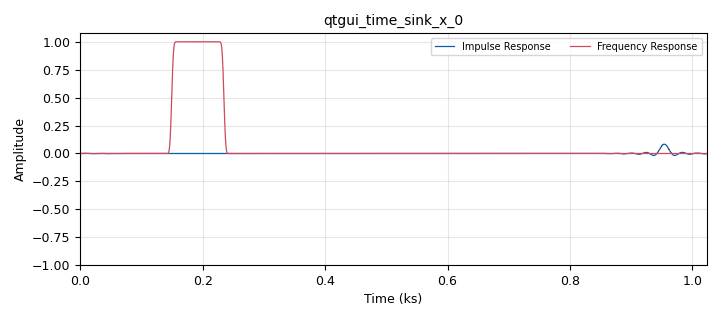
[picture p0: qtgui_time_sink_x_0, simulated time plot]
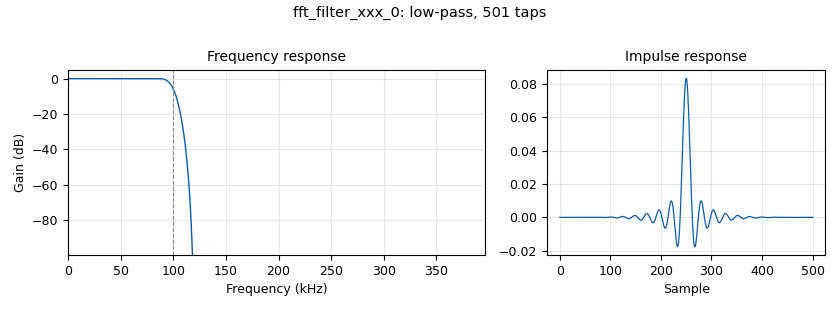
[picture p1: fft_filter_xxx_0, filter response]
options:
  parameters:
    author: Gary Schafer
    generate_options: qt_gui
    id: fftFiltering
    output_language: python
    title: FFT Filtering by Parts
  states: {}

blocks:
- name: N
  id: variable
  parameters:
    value: 2**10
  states: {}
- name: lpf
  id: variable
  parameters:
    comment: |-
      Create lowpass filter taps

      Value: firdes.low_pass(1,samp_rate,100e3,20e3,5)
    value: firdes.low_pass(1,samp_rate,100e3,20e3,5)
  states: {}
- name: lpfFft
  id: variable
  parameters:
    comment: |-
      FFT of the zeropadded
      filter taps.
    value: np.fft.fftshift(np.fft.fft(lpfZero))
  states: {}
- name: lpfLength
  id: variable
  parameters:
    comment: 'Value: len(lpf)'
    value: len(lpf)
  states: {}
- name: lpfZero
  id: variable
  parameters:
    comment: Zeropad the filter taps
    value: lpf+[0,]*523
  states: {}
- name: samp_rate
  id: variable
  parameters:
    value: 2.4e6
  states: {}
- name: blocks_delay_0_0
  id: blocks_delay
  parameters:
    delay: '250'
    type: complex
  states: {}
- name: blocks_file_source_0
  id: blocks_file_source
  parameters:
    file: /home/gary/SDR-Software/gnuradio/iq-files/FM Broadcast/FM-90M9CF-2M4FS-03.cf32
    repeat: 'True'
    type: complex
  states: {}
- name: blocks_keep_m_in_n_0
  id: blocks_keep_m_in_n
  parameters:
    comment: |-
      Extract the filtered samples,
      and discard the rest.
    m: '501'
    n: '1024'
    offset: '250'
    type: complex
  states: {}
- name: blocks_multiply_const_vxx_0
  id: blocks_multiply_const_vxx
  parameters:
    const: 1/128
    type: complex
  states: {}
- name: blocks_multiply_const_vxx_0_0
  id: blocks_multiply_const_vxx
  parameters:
    const: '8'
    type: complex
  states: {}
- name: blocks_multiply_const_vxx_1
  id: blocks_multiply_const_vxx
  parameters:
    comment: |-
      Multiply FFT of filter
      taps with the FFT of the
      signal samples. This
      effectively convolves the
      filter and signal.
    const: lpfFft
    type: complex
    vlen: '1024'
  states: {}
- name: blocks_stream_to_vector_0
  id: blocks_stream_to_vector
  parameters:
    comment: Create time record
    num_items: '1024'
    type: complex
  states: {}
- name: blocks_throttle_0
  id: blocks_throttle
  parameters:
    samples_per_second: samp_rate
    type: complex
  states: {}
- name: blocks_vector_insert_x_0
  id: blocks_vector_insert_x
  parameters:
    comment: Zeropad the signal.
    offset: '523'
    period: '1024'
    type: complex
    vector: (0,)*523
  states: {}
- name: blocks_vector_source_x_0
  id: blocks_vector_source_x
  parameters:
    repeat: 'True'
    type: float
    vector: np.abs(lpfFft)
  states: {}
- name: blocks_vector_source_x_0_0
  id: blocks_vector_source_x
  parameters:
    repeat: 'True'
    type: float
    vector: lpfZero
  states: {}
- name: blocks_vector_to_stream_0
  id: blocks_vector_to_stream
  parameters:
    num_items: '1024'
    type: complex
  states: {}
- name: fft_filter_xxx_0
  id: fft_filter_xxx
  parameters:
    comment: Gnu Radio FFT Filter
    decim: '1'
    taps: lpf
    type: ccc
  states: {}
- name: fft_vxx_0_0
  id: fft_vxx
  parameters:
    comment: FFT of signal
    fft_size: '1024'
    forward: 'True'
    shift: 'True'
    type: complex
    window: window.rectangular(1024)
  states: {}
- name: fft_vxx_0_0_0
  id: fft_vxx
  parameters:
    comment: Convert back to time domain
    fft_size: '1024'
    forward: 'False'
    shift: 'True'
    type: complex
    window: window.rectangular(1024)
  states: {}
- name: import_0
  id: import
  parameters:
    imports: import numpy as np
  states: {}
- name: myTabs
  id: qtgui_tab_widget
  parameters:
    gui_hint: 0,0,20,20
    label0: Impulse and Frequency Response
    label1: Filtered Spectrum
    label2: Filtered Signal - Time Domain
    num_tabs: '3'
  states: {}
- name: qtgui_freq_sink_x_0
  id: qtgui_freq_sink_x
  parameters:
    bw: samp_rate
    fc: '0'
    fftsize: '4096'
    gui_hint: myTabs@1
    label1: ByParts
    label2: Standard
    nconnections: '2'
    type: complex
    update_time: '0.1'
    ymax: '0'
    ymin: '-120'
  states: {}
- name: qtgui_time_sink_x_0
  id: qtgui_time_sink_x
  parameters:
    gui_hint: myTabs@0
    label1: Impulse Response
    label2: Frequency Response
    nconnections: '2'
    size: len(lpfFft)
    srate: '1'
    type: float
  states: {}
- name: qtgui_time_sink_x_0_0
  id: qtgui_time_sink_x
  parameters:
    gui_hint: myTabs@2
    label1: ByParts I
    label2: ByParts Q
    label3: Standard I
    label4: Standard Q
    nconnections: '2'
    size: int(4*lpfLength)
    srate: '1'
    type: complex
    update_time: '0.1'
  states: {}
- name: virtual_sink_0
  id: virtual_sink
  parameters:
    stream_id: standardFilter
  states: {}
- name: virtual_sink_1
  id: virtual_sink
  parameters:
    stream_id: filteredOut
  states: {}
- name: virtual_source_0
  id: virtual_source
  parameters:
    stream_id: standardFilter
  states: {}
- name: virtual_source_1
  id: virtual_source
  parameters:
    stream_id: filteredOut
  states: {}

connections:
- [blocks_delay_0_0, '0', qtgui_freq_sink_x_0, '0']
- [blocks_delay_0_0, '0', qtgui_time_sink_x_0_0, '0']
- [blocks_file_source_0, '0', blocks_throttle_0, '0']
- [blocks_keep_m_in_n_0, '0', blocks_delay_0_0, '0']
- [blocks_multiply_const_vxx_0, '0', blocks_keep_m_in_n_0, '0']
- [blocks_multiply_const_vxx_0_0, '0', qtgui_freq_sink_x_0, '1']
- [blocks_multiply_const_vxx_0_0, '0', qtgui_time_sink_x_0_0, '1']
- [blocks_multiply_const_vxx_1, '0', virtual_sink_1, '0']
- [blocks_stream_to_vector_0, '0', fft_vxx_0_0, '0']
- [blocks_throttle_0, '0', blocks_vector_insert_x_0, '0']
- [blocks_throttle_0, '0', fft_filter_xxx_0, '0']
- [blocks_vector_insert_x_0, '0', blocks_stream_to_vector_0, '0']
- [blocks_vector_source_x_0, '0', qtgui_time_sink_x_0, '1']
- [blocks_vector_source_x_0_0, '0', qtgui_time_sink_x_0, '0']
- [blocks_vector_to_stream_0, '0', blocks_multiply_const_vxx_0, '0']
- [fft_filter_xxx_0, '0', virtual_sink_0, '0']
- [fft_vxx_0_0, '0', blocks_multiply_const_vxx_1, '0']
- [fft_vxx_0_0_0, '0', blocks_vector_to_stream_0, '0']
- [virtual_source_0, '0', blocks_multiply_const_vxx_0_0, '0']
- [virtual_source_1, '0', fft_vxx_0_0_0, '0']

metadata:
  file_format: 1
  grc_version: 3.10.9.2
